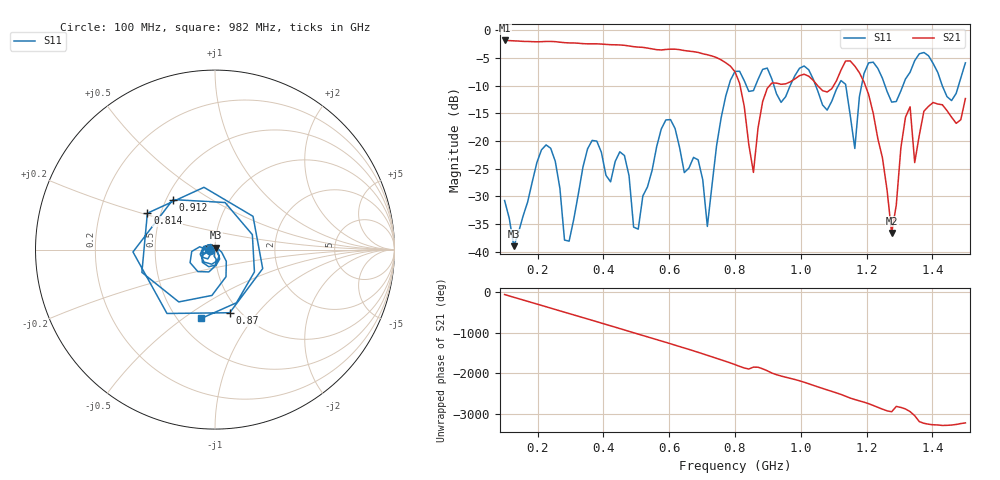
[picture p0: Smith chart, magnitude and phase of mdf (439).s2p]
! NanoVNA-App
! Date: 2025-09-25 15:41:50
! Start: 100MHz Stop: 1,5GHz Points: 101
! S-Parameter data: F S11 S21 S12 S22
# Hz S RI R 50
!  Frequency  S11_Real  S11_Imag  S21_Real  S21_Imag  S12_Real  S12_Imag  S22_Real  S22_Imag
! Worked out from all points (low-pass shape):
!   101 points, 100 MHz to 1.5 GHz, reference 50 ohm
!   highest |S21| = -1.80 dB at 100 MHz (marker M1); lowest = -36.6 dB at 1.276 GHz (marker M2)
!   |S21| within 3 dB of the highest: start of sweep to 739.3 MHz
!   lowest |S11| = -39.0 dB at 128 MHz (marker M3), VSWR 1.02, Z = 50.3 + j1.08 ohm
!   |S11| at or under -10 dB: start of sweep to 781.1 MHz; 1.045 GHz to 1.114 GHz (68.25 MHz wide, 6.32 % of centre); 1.256 GHz to 1.31 GHz (53.94 MHz wide, 4.2 % of centre) (the widest 3 of 7)
!   S12 and S22 are empty: the file has one direction only
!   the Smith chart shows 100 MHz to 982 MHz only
!   S11 on the Smith chart (normalised r, x): 100 MHz: 0.94, -0.01; 814 MHz: 0.42, +0.21; 870 MHz: 0.90, -0.73; 912 MHz: 0.54, +0.35; 982 MHz: 0.65, -0.59
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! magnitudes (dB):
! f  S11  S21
! 100 MHz  -30.7  -1.8
! 128 MHz  -39.0  -1.9
! 212 MHz  -21.6  -2.0
! 282 MHz  -37.9  -2.2
! 338 MHz  -24.7  -2.4
! 464 MHz  -22.6  -2.7
! 506 MHz  -35.9  -3.0
! 576 MHz  -17.8  -3.5
! 716 MHz  -35.4  -4.4
! 800 MHz  -7.4  -7.5
! 814 MHz  -7.4  -9.6
! 856 MHz  -10.9  -25.7
! 870 MHz  -8.8  -17.6
! 912 MHz  -8.8  -9.5
! 982 MHz  -8.2  -8.8
! 1.038 GHz  -8.8  -9.0
! 1.164 GHz  -21.3  -6.4
! 1.178 GHz  -12.0  -7.6
! 1.276 GHz  -12.9  -36.6
! 1.332 GHz  -7.5  -13.8
! 1.346 GHz  -5.4  -23.9
! 1.5 GHz  -5.8  -12.3
